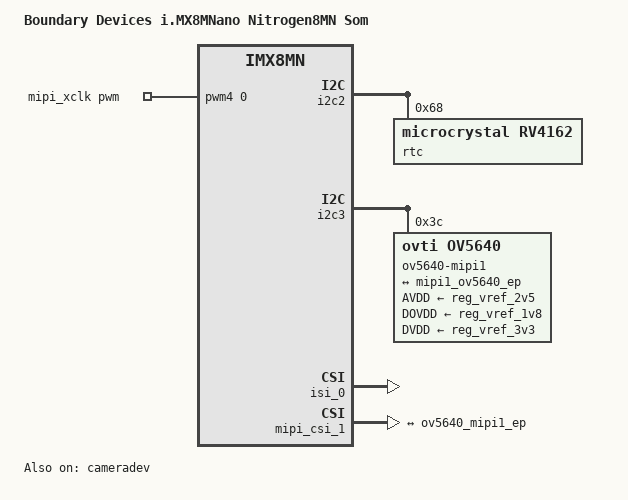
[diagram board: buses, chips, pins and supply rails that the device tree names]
// SPDX-License-Identifier: (GPL-2.0+ OR MIT)
/*
 * Copyright 2019 Boundary Devices
 */

#define MIPI_I2C_BUS	i2c4
#define GP_MIPI_ENABLE(a)	<&gpio5 0 a>
#define PD_MIPI_ENABLE(a)	MX8MMN(IOMUXC_SAI3_TXC_GPIO5_IO0, a)	/* Pin 11 */

#include "imx8mn-nitrogen8mn.dts"

&iomuxc {
	/delete-node/ i2c3a-rv4162grp;
	/delete-node/ i2c3b-ov5640-mipigrp;

	pinctrl_hog: hoggrp {
		fsl,pins = <
			MX8MMN(IOMUXC_GPIO1_IO08_GPIO1_IO8, 0x09)
		>;
	};

	pinctrl_i2c2_rv4162: i2c2-rv4162grp {
		fsl,pins = <
#undef  GPIRQ_RV4162
#define GPIRQ_RV4162		<&gpio1 3 IRQ_TYPE_LEVEL_LOW>
			MX8MMN(IOMUXC_GPIO1_IO03_GPIO1_IO3, 0x1c0)
		>;
	};

	pinctrl_i2c3_ov5640_mipi: i2c3-ov5640-mipigrp {
		fsl,pins = <
#undef GP_OV5640_MIPI_POWER_DOWN
#define GP_OV5640_MIPI_POWER_DOWN	<&gpio1 11 GPIO_ACTIVE_HIGH>
			MX8MMN(IOMUXC_GPIO1_IO11_GPIO1_IO11, 0x141)
#undef  GP_OV5640_MIPI_RESET
#define GP_OV5640_MIPI_RESET	<&gpio1 9 GPIO_ACTIVE_LOW>
			MX8MMN(IOMUXC_GPIO1_IO09_GPIO1_IO9, 0x101)
		>;
	};

	pinctrl_pwm4: pwm4grp {
		fsl,pins = <
			MX8MMN(IOMUXC_GPIO1_IO15_PWM4_OUT, 0x16)
		>;
	};
};

/ {
	model = "Boundary Devices i.MX8MNano Nitrogen8MN Som";
	compatible = "boundary,imx8mn-nitrogen8mn_som", "fsl,imx8mn";

	mipi_xclk: mipi-xclk {
		assigned-clocks = <&clk IMX8MMN(CLK_PWM4)>;
		assigned-clock-parents = <&clk IMX8MMN(SYS_PLL1_40M)>;
		compatible = "pwm-clock";
		#clock-cells = <0>;
		clock-frequency = <20000000>;
		clock-output-names = "mipi_pwm4";
		pwms = <&pwm4 0 50>; /* 20 MHz */
	};
};

&cameradev {
	status = "okay";
};

&i2c2 {
	rtc@68 {
		compatible = "microcrystal,rv4162";
		pinctrl-names = "default";
		pinctrl-0 = <&pinctrl_i2c2_rv4162>;
		reg = <0x68>;
		interrupts-extended = GPIRQ_RV4162;
		wakeup-source;
	};
};

&i2c3 {
	/delete-node/ i2cmux@70;

	ov5640-mipi1@3c {
		AVDD-supply = <&reg_vref_2v5>;
		DOVDD-supply = <&reg_vref_1v8>;
		DVDD-supply = <&reg_vref_3v3>;
		clocks = <&mipi_xclk>;
		clock-names = "xclk";
		compatible = "ovti,ov5640";
		pinctrl-names = "default";
		pinctrl-0 = <&pinctrl_i2c3_ov5640_mipi>;
		powerdown-gpios = GP_OV5640_MIPI_POWER_DOWN;
		reg = <0x3c>;
		reset-gpios = GP_OV5640_MIPI_RESET;
		status = "okay";

		port {
			ov5640_mipi1_ep: endpoint {
				clock-lanes = <0>;
				data-lanes = <1 2>;
				remote-endpoint = <&mipi1_ov5640_ep>;
			};
		};
	};
};

&isi_0 {
	status = "okay";

	cap_device {
		status = "okay";
	};
};

&mipi_csi_1 {
	#address-cells = <1>;
	#size-cells = <0>;
	status = "okay";
	/delete-node/ port;
	/delete-node/ port@0;

	port@0 {
		reg = <0>;

		mipi1_ov5640_ep: endpoint {
			remote-endpoint = <&ov5640_mipi1_ep>;
			data-lanes = <2>;
			csis-hs-settle = <13>;
			csis-clk-settle = <2>;
			csis-wclk;
		};
	};
};
